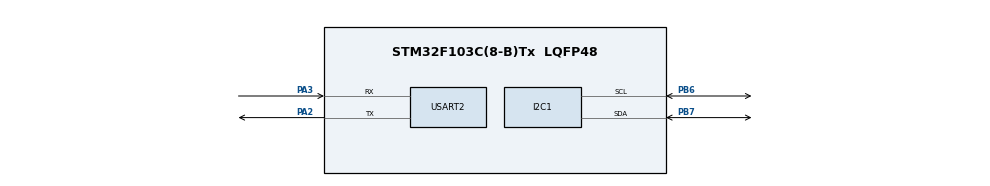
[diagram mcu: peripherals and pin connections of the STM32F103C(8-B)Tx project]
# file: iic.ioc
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Dma.I2C1_RX.0.Direction=DMA_PERIPH_TO_MEMORY
Dma.I2C1_RX.0.Instance=DMA1_Channel7
Dma.I2C1_RX.0.MemDataAlignment=DMA_MDATAALIGN_BYTE
Dma.I2C1_RX.0.MemInc=DMA_MINC_ENABLE
Dma.I2C1_RX.0.Mode=DMA_NORMAL
Dma.I2C1_RX.0.PeriphDataAlignment=DMA_PDATAALIGN_BYTE
Dma.I2C1_RX.0.PeriphInc=DMA_PINC_DISABLE
Dma.I2C1_RX.0.Priority=DMA_PRIORITY_LOW
Dma.I2C1_TX.1.Direction=DMA_MEMORY_TO_PERIPH
Dma.I2C1_TX.1.Instance=DMA1_Channel6
Dma.I2C1_TX.1.MemDataAlignment=DMA_MDATAALIGN_BYTE
Dma.I2C1_TX.1.MemInc=DMA_MINC_ENABLE
Dma.I2C1_TX.1.Mode=DMA_NORMAL
Dma.I2C1_TX.1.PeriphDataAlignment=DMA_PDATAALIGN_BYTE
Dma.I2C1_TX.1.PeriphInc=DMA_PINC_DISABLE
Dma.I2C1_TX.1.Priority=DMA_PRIORITY_LOW
Dma.Request0=I2C1_RX
Dma.Request1=I2C1_TX
Mcu.Family=STM32F1
Mcu.Name=STM32F103C(8-B)Tx
Mcu.Package=LQFP48
NVIC.DMA1_Channel6_IRQn=true\:0\:0\:false\:false\:true\:false\:true\:true
NVIC.DMA1_Channel7_IRQn=true\:0\:0\:false\:false\:true\:false\:true\:true
NVIC.I2C1_ER_IRQn=true\:0\:0\:false\:false\:true\:true\:true\:true
NVIC.I2C1_EV_IRQn=true\:0\:0\:false\:false\:true\:true\:true\:true
NVIC.PriorityGroup=NVIC_PRIORITYGROUP_4
PA13.Mode=Serial_Wire
PA13.Signal=SYS_JTMS-SWDIO
PA14.Mode=Serial_Wire
PA14.Signal=SYS_JTCK-SWCLK
PA2.Mode=Asynchronous
PA2.Signal=USART2_TX
PA3.Mode=Asynchronous
PA3.Signal=USART2_RX
PB6.Mode=I2C
PB6.Signal=I2C1_SCL
PB7.Mode=I2C
PB7.Signal=I2C1_SDA
ProjectManager.HeapSize=0x200
ProjectManager.StackSize=0x400
ProjectManager.TargetToolchain=STM32CubeIDE
RCC.APB1Freq_Value=8000000
RCC.APB2Freq_Value=8000000
USART2.VirtualMode=VM_ASYNC
board=custom

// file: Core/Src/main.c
/* USER CODE BEGIN Header */
/**
  ******************************************************************************
  * @file           : main.c
  * @brief          : Main program body
  ******************************************************************************
  * @attention
  *
  * Copyright (c) 2026 STMicroelectronics.
  * All rights reserved.
  *
  * This software is licensed under terms that can be found in the LICENSE file
  * in the root directory of this software component.
  * If no LICENSE file comes with this software, it is provided AS-IS.
  *
  ******************************************************************************
  */
/* USER CODE END Header */
#include "main.h"
#include "dma.h"
#include "i2c.h"
#include "usart.h"
#include "gpio.h"

/* USER CODE BEGIN Includes */
#include"aht20.h"
#include<stdio.h>
#include<string.h>
/* USER CODE END Includes */

/* USER CODE BEGIN PV */
//0:初始状态，这个状态要发送测量指令
//1:正在发送测量指令
//2:测量命令发送完成，等待75ms读取AHT20数据
//3:读取中
//4:读取完成，解析并展示数据
uint8_t aht20State=0;
/* USER CODE END PV */

void SystemClock_Config(void);

int main(void)
{

  /* MCU Configuration--------------------------------------------------------*/

  /* Reset of all peripherals, Initializes the Flash interface and the Systick. */
  HAL_Init();

  /* Configure the system clock */
  SystemClock_Config();

  /* Initialize all configured peripherals */
  MX_GPIO_Init();
  MX_DMA_Init();
  MX_I2C1_Init();
  MX_USART2_UART_Init();
  /* USER CODE BEGIN 2 */
  AHT20_Init();

  float temperature,humidity;
  char message[50];

  /* USER CODE END 2 */

  /* Infinite loop */
  /* USER CODE BEGIN WHILE */
  while (1)
  {
//	  AHT20_Read(&temperature, &humidity);//使用IIC中断模式改造AHT20_Read
//	  sprintf(message,"温度：%.1f °C，湿度：%.1f %%\r\n",temperature,humidity);
//	  HAL_UART_Transmit(&huart2, (uint8_t*)message, strlen(message), HAL_MAX_DELAY);
//	  HAL_Delay(1000);

	  if(aht20State==0)
	  {
		  AHT20_Measure();
		  aht20State=1;
	  }
	  else if(aht20State==1)
	  {

	  }
	  else if(aht20State==2)
	  {
		  HAL_Delay(75);
		  AHT20_Get();
		  aht20State=3;
	  }
	  else if(aht20State==3)
	  {

	  }
	  else if(aht20State==4)
	  {
		  AHT20_Anlalysis(&temperature, &humidity);
		  sprintf(message,"温度：%.1f °C，湿度：%.1f %%\r\n",temperature,humidity);
		  HAL_UART_Transmit(&huart2, (uint8_t*)message, strlen(message), HAL_MAX_DELAY);
		  HAL_Delay(1000);
		  aht20State=0;
	  }
    /* USER CODE END WHILE */

  }
}

void SystemClock_Config(void)
{
  RCC_OscInitTypeDef RCC_OscInitStruct = {0};
  RCC_ClkInitTypeDef RCC_ClkInitStruct = {0};

  /** Initializes the RCC Oscillators according to the specified parameters
  * in the RCC_OscInitTypeDef structure.
  */
  RCC_OscInitStruct.OscillatorType = RCC_OSCILLATORTYPE_HSI;
  RCC_OscInitStruct.HSIState = RCC_HSI_ON;
  RCC_OscInitStruct.HSICalibrationValue = RCC_HSICALIBRATION_DEFAULT;
  RCC_OscInitStruct.PLL.PLLState = RCC_PLL_NONE;
  if (HAL_RCC_OscConfig(&RCC_OscInitStruct) != HAL_OK)
  {
    Error_Handler();
  }

  /** Initializes the CPU, AHB and APB buses clocks
  */
  RCC_ClkInitStruct.ClockType = RCC_CLOCKTYPE_HCLK|RCC_CLOCKTYPE_SYSCLK
                              |RCC_CLOCKTYPE_PCLK1|RCC_CLOCKTYPE_PCLK2;
  RCC_ClkInitStruct.SYSCLKSource = RCC_SYSCLKSOURCE_HSI;
  RCC_ClkInitStruct.AHBCLKDivider = RCC_SYSCLK_DIV1;
  RCC_ClkInitStruct.APB1CLKDivider = RCC_HCLK_DIV1;
  RCC_ClkInitStruct.APB2CLKDivider = RCC_HCLK_DIV1;

  if (HAL_RCC_ClockConfig(&RCC_ClkInitStruct, FLASH_LATENCY_0) != HAL_OK)
  {
    Error_Handler();
  }
}

void Error_Handler(void)
{
  __disable_irq();
  while (1)
  {
  }
}
